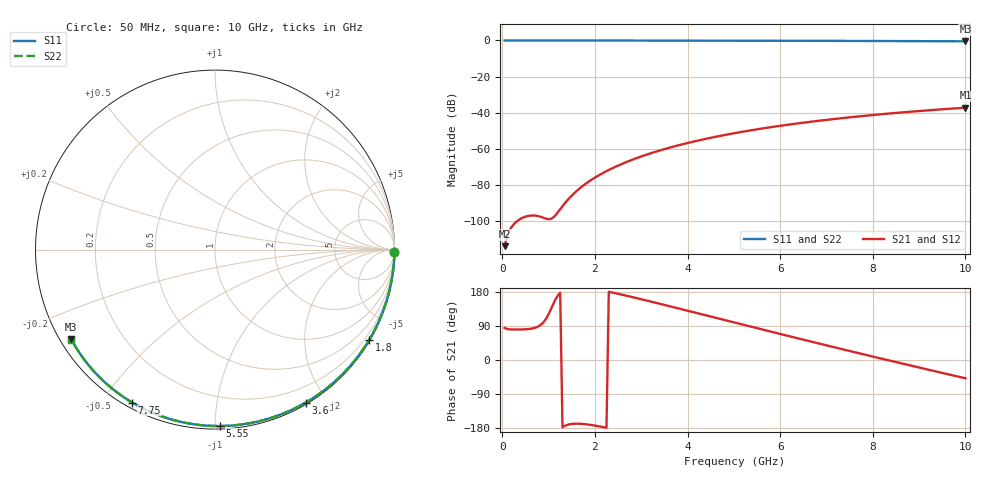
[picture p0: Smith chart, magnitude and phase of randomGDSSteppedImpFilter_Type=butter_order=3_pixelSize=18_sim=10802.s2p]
! freq	dB(S11)	phase(S11)	dB(S12)	phase(S12)
!  dB(S21)	phase(S21)	dB(S22)	phase(S22)
!S-par simulation data
#  GHz  S  DB  R 50
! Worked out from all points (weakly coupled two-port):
!   200 points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, 50 MHz to 10 GHz, reference 50 ohm
!   highest |S21| = -37.24 dB at 10 GHz (marker M1); lowest = -113.9 dB at 50 MHz (marker M2)
!   lowest |S11| = -0.5 dB at 10 GHz (marker M3), VSWR 34.84, Z = 1.55 - j14.3 ohm
!   |S11| at or under -10 dB: nowhere
!   |S22| runs from -0.5 to 0.0 dB; largest |S21 - S12| = 0
!   S11 on the Smith chart (normalised r, x): 50 MHz: open; 1.8 GHz: 0.03, -3.68; 3.6 GHz: 0.02, -1.76; 5.55 GHz: 0.02, -1.03; 7.75 GHz: 0.02, -0.60; 10 GHz: 0.03, -0.29
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0.05  -0.00 -0.9  -113.94 84.7  -113.94 84.7  -0.00 -0.9
0.45  -0.01 -7.7  -98.07 80.8  -98.07 80.8  -0.01 -7.7
0.9  -0.02 -15.4  -98.32 101.1  -98.32 101.1  -0.02 -15.4
1.3  -0.03 -22.1  -91.79 -177.4  -91.79 -177.4  -0.03 -22.1
1.75  -0.04 -29.6  -80.32 -169.0  -80.32 -169.0  -0.04 -29.6
1.8  -0.04 -30.4  -79.37 -169.6  -79.37 -169.6  -0.04 -30.4
1.95  -0.04 -32.9  -76.76 -172.1  -76.76 -172.1  -0.04 -32.9
2.1  -0.05 -35.4  -74.45 -175.2  -74.45 -175.2  -0.05 -35.4
2.3  -0.05 -38.6  -71.72 180.0  -71.72 180.0  -0.05 -38.6
2.5  -0.05 -41.9  -69.30 174.7  -69.30 174.7  -0.05 -41.9
2.9  -0.06 -48.3  -65.16 163.3  -65.16 163.3  -0.06 -48.3
3.4  -0.07 -56.2  -60.93 148.4  -60.93 148.4  -0.07 -56.2
3.6  -0.08 -59.3  -59.46 142.4  -59.46 142.4  -0.08 -59.3
4.3  -0.10 -70.0  -55.01 120.9  -55.01 120.9  -0.10 -70.0
5.05  -0.12 -81.1  -51.18 97.8  -51.18 97.8  -0.12 -81.1
5.55  -0.14 -88.3  -49.01 82.4  -49.01 82.4  -0.14 -88.3
6.1  -0.17 -96.1  -46.91 65.7  -46.91 65.7  -0.17 -96.0
6.7  -0.20 -104.3  -44.90 47.6  -44.90 47.6  -0.20 -104.3
7.75  -0.27 -118.4  -41.92 16.4  -41.92 16.4  -0.27 -118.4
8.35  -0.32 -126.4  -40.48 -1.1  -40.48 -1.1  -0.32 -126.3
9.2  -0.41 -137.5  -38.69 -25.6  -38.69 -25.6  -0.41 -137.4
10  -0.50 -148.0  -37.24 -48.3  -37.24 -48.3  -0.50 -147.9
